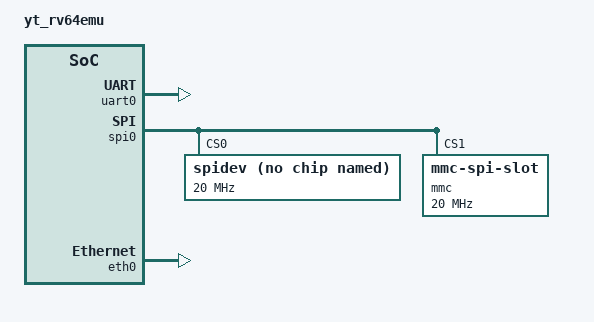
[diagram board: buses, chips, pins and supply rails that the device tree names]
/dts-v1/;

/ {
    model = "yt_rv64emu";
    compatible = "yutong", "yt_rv64emu";
    #address-cells = <2>;
    #size-cells = <2>;
    interrupt-parent = <&plic>;

    rtcclk: rtcclk {
        compatible = "fixed-clock";
        #clock-cells = <1>;
        clock-frequency = <0x384000>;
        clock-output-names = "rtcclk";
    };

    cpus {
        linux,phandle = <1>;
        #address-cells = <1>;
        #size-cells = <0>;
        timebase-frequency = <5000000>;
        cpu0: cpu@0 {
            device_type = "cpu";
            reg = <0x0>;
            status = "okay";
            compatible = "riscv";
            riscv,isa = "rv64imacfd";
            mmu-type = "riscv,sv48";
            riscv,pmpregions = <16>;
            riscv,pmpgranularity = <4>;
            linux,boot-cpu;
            cpu0_intc: interrupt-controller {
                #interrupt-cells = <1>;
                interrupt-controller;
                compatible = "riscv,cpu-intc";
            };
        };
        /*
        cpu1: cpu@1 {
            device_type = "cpu";
            reg = <0x1>;
            status = "okay";
            compatible = "riscv";
            riscv,isa = "rv64imacfd";
            mmu-type = "riscv,sv48";
            riscv,pmpregions = <16>;
            riscv,pmpgranularity = <4>;
            cpu1_intc: interrupt-controller {
                #interrupt-cells = <1>;
                interrupt-controller;
                compatible = "riscv,cpu-intc";
            };
        };
        cpu2: cpu@2 {
            device_type = "cpu";
            reg = <0x2>;
            status = "okay";
            compatible = "riscv";
            riscv,isa = "rv64imacfd";
            mmu-type = "riscv,sv48";
            riscv,pmpregions = <16>;
            riscv,pmpgranularity = <4>;
            cpu2_intc: interrupt-controller {
                #interrupt-cells = <1>;
                interrupt-controller;
                compatible = "riscv,cpu-intc";
            };
        };
        cpu3: cpu@3 {
            device_type = "cpu";
            reg = <0x3>;
            status = "okay";
            compatible = "riscv";
            riscv,isa = "rv64imacfd";
            mmu-type = "riscv,sv48";
            riscv,pmpregions = <16>;
            riscv,pmpgranularity = <4>;
            cpu3_intc: interrupt-controller {
                #interrupt-cells = <1>;
                interrupt-controller;
                compatible = "riscv,cpu-intc";
            };
        };
        cpu4: cpu@4 {
            device_type = "cpu";
            reg = <0x4>;
            status = "okay";
            compatible = "riscv";
            riscv,isa = "rv64imacfd";
            mmu-type = "riscv,sv48";
            riscv,pmpregions = <16>;
            riscv,pmpgranularity = <4>;
            cpu4_intc: interrupt-controller {
                #interrupt-cells = <1>;
                interrupt-controller;
                compatible = "riscv,cpu-intc";
            };
        };
        cpu5: cpu@5 {
            device_type = "cpu";
            reg = <0x5>;
            status = "okay";
            compatible = "riscv";
            riscv,isa = "rv64imacfd";
            mmu-type = "riscv,sv48";
            riscv,pmpregions = <16>;
            riscv,pmpgranularity = <4>;
            cpu5_intc: interrupt-controller {
                #interrupt-cells = <1>;
                interrupt-controller;
                compatible = "riscv,cpu-intc";
            };
        };
        cpu6: cpu@6 {
            device_type = "cpu";
            reg = <0x6>;
            status = "okay";
            compatible = "riscv";
            riscv,isa = "rv64imacfd";
            mmu-type = "riscv,sv48";
            riscv,pmpregions = <16>;
            riscv,pmpgranularity = <4>;
            cpu6_intc: interrupt-controller {
                #interrupt-cells = <1>;
                interrupt-controller;
                compatible = "riscv,cpu-intc";
            };
        };
        cpu7: cpu@7 {
            device_type = "cpu";
            reg = <0x7>;
            status = "okay";
            compatible = "riscv";
            riscv,isa = "rv64imacfd";
            mmu-type = "riscv,sv48";
            riscv,pmpregions = <16>;
            riscv,pmpgranularity = <4>;
            cpu7_intc: interrupt-controller {
                #interrupt-cells = <1>;
                interrupt-controller;
                compatible = "riscv,cpu-intc";
            };
        };
        */
        cpu-map {
            cluster0 {
                core0 {
                    cpu = <&cpu0>;
                };
                /*
                core1 {
                    cpu = <&cpu1>;
                };
                core2 {
                    cpu = <&cpu2>;
                };
                core3 {
                    cpu = <&cpu3>;
                };
                core4 {
                    cpu = <&cpu4>;
                };
                core5 {
                    cpu = <&cpu5>;
                };
                core6 {
                    cpu = <&cpu6>;
                };
                core7 {
                    cpu = <&cpu7>;
                };
                */
            };
        };
    };

    bootrom: bootrom@0 {
        device_type = "bootrom";
        reg = <0x00000000 0x00000000 0x00000000 0x00008000>;
    };

    /*
    sram1: sram@10000 {
        device_type = "memory";
        reg = <0x00000000 0x00010000 0x00000000 0x00010000>;
    };

    sram2: sram@20000 {
        device_type = "memory";
        reg = <0x00000000 0x00020000 0x00000000 0x00010000>;
    };

    dram1: dram@20000000 {
        device_type = "memory";
        reg = <0x00000000 0x20000000 0x00000000 0x00800000>;
    };
    */

    dram2: dram@80000000 {
        device_type = "memory";
        reg = <0x00000000 0x80000000 0x00000000 0x08000000>;
    };
    
    flash: flash@100000000 {
        compatible = "simple,flash0";
        reg = <0x00000001 0x00000000 0x00000000 0x80000000>;
    };

    peri: peri {
        compatible = "simple-bus";
        #address-cells = <1>;
        #size-cells = <1>;
        ranges;

        uart0: uart@10000000 {
            interrupts = <0x1>;
            interrupt-parent = <&plic>;
            compatible = "sifive,uart0";
            clocks = <&rtcclk 0>;
            reg = <0x10000000 0x1000>;
        };
        
        spi0: spi@10001000 {
            interrupts = <0x2>;
            interrupt-parent = <&plic>;
            compatible = "riscv,spi0";
            reg = <0x10001000 0x1000>;
            #address-cells = <1>;
            #size-cells = <0>;
            status = "okay";

            spidev@0 {
                compatible = "rohm,dh2228fv";
                reg = <0x0>;
                spi-max-frequency = <20000000>;
                voltage-ranges = <0xce4 0xce4>;
                disable-wp;
            };

            mmc@1 {
                compatible = "mmc-spi-slot";
                reg = <0x1>;
                spi-max-frequency = <20000000>;
                voltage-ranges = <0xce4 0xce4>;
                disable-wp;
            };
        };

        eth0: eth@10002000 {
            interrupts = <0x3>;
            interrupt-parent = <&plic>;
            compatible = "riscv,eth0";
            reg = <0x10002000 0x1000>;
        };
        
        
        finisher@10008000 {
            compatible = "sifive,test0";
            reg = <0x10008000 0x1000>;
        };

        clint0: clint@10010000 {
            compatible = "riscv,clint0";
            reg = <0x10010000 0x10000>;
            interrupts-extended = <&cpu0_intc 7>, <&cpu0_intc 3>;
            /*
            interrupts-extended = <&cpu0_intc 7>, <&cpu0_intc 3>,
                                  <&cpu1_intc 7>, <&cpu1_intc 3>,
                                  <&cpu2_intc 7>, <&cpu2_intc 3>,
                                  <&cpu3_intc 7>, <&cpu3_intc 3>,
                                  <&cpu4_intc 7>, <&cpu4_intc 3>,
                                  <&cpu5_intc 7>, <&cpu5_intc 3>,
                                  <&cpu6_intc 7>, <&cpu6_intc 3>,
                                  <&cpu7_intc 7>, <&cpu7_intc 3>;
            */
        };

        plic: interrupt-controller@14000000 {
            #interrupt-cells = <1>;
            interrupt-controller;
            compatible = "riscv,plic0";
            riscv,ndev = <32>;
            reg = <0x14000000 0x4000000>;
            interrupts-extended = <&cpu0_intc 11>, <&cpu0_intc 9>;
            /*
            interrupts-extended = <&cpu0_intc 11>, <&cpu0_intc 9>,
                                  <&cpu1_intc 11>, <&cpu1_intc 9>,
                                  <&cpu2_intc 11>, <&cpu2_intc 9>,
                                  <&cpu3_intc 11>, <&cpu3_intc 9>,
                                  <&cpu4_intc 11>, <&cpu4_intc 9>,
                                  <&cpu5_intc 11>, <&cpu5_intc 9>,
                                  <&cpu6_intc 11>, <&cpu6_intc 9>,
                                  <&cpu7_intc 11>, <&cpu7_intc 9>;
            */
        };
    };

    chosen {
        riscv,kernel-start = <0x0 0x80200000>;
        riscv,kernel-end   = <0x0 0x87000000>;
        bootargs = "root=/dev/srda rw console=ttySIF0";
        /* bootargs = "root=/dev/mmcblk0 rw console=ttySIF0 rootwait"; */
        stdout-path = "uart0@10000000";
        linux,platform = <0x00000600>;
    };

    aliases {
        serial0 = &uart0;
    };
};
